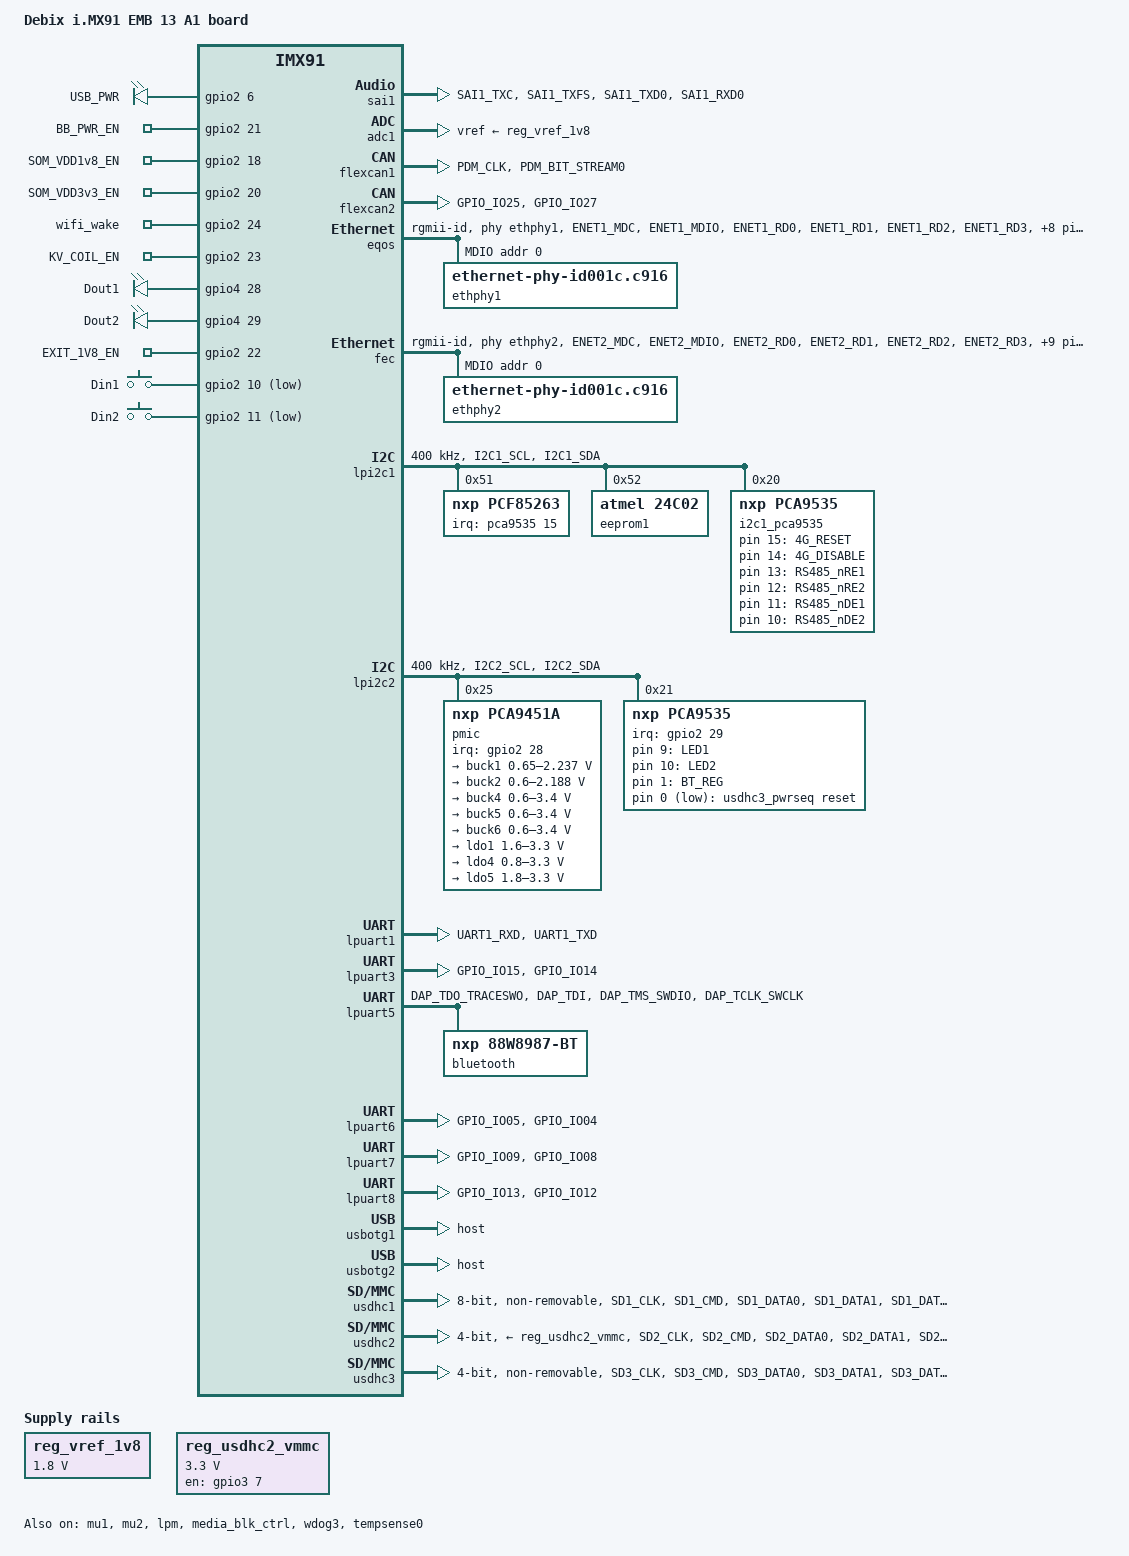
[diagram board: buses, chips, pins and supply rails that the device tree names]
// SPDX-License-Identifier: (GPL-2.0+ OR MIT)
/*
 * Copyright 2024 NXP
 */

/dts-v1/;

#include <dt-bindings/usb/pd.h>
#include "imx91.dtsi"

&ele_fw2 {
	memory-region = <&ele_reserved>;
};

/ {
	model = "Debix i.MX91 EMB 13 A1 board";
	compatible = "fsl,imx91-11x11-evk", "fsl,imx91";

	chosen {
		stdout-path = &lpuart1;
	};

	gpio-leds {
		compatible = "gpio-leds";
		pinctrl-names = "default";
		pinctrl-0 = <&pinctrl_leds>;

		USB_PWR {
			label = "USB_PWR";
			gpios = <&gpio2 6 GPIO_ACTIVE_HIGH>;
			default-state = "on";
			retain-state-suspended;
		};
		BB_PWR_EN {
			label = "BB_PWR_EN";
			gpios = <&gpio2 21 GPIO_ACTIVE_HIGH>;
			default-state = "on";
			retain-state-suspended;
		};
		SOM_VDD1v8_EN {
			label = "SOM_VDD1v8_EN";
			gpios = <&gpio2 18 GPIO_ACTIVE_HIGH>;
			default-state = "on";
			retain-state-suspended;
		};
		SOM_VDD3v3_EN {
			label = "SOM_VDD3v3_EN";
			gpios = <&gpio2 20 GPIO_ACTIVE_HIGH>;
			default-state = "on";
			retain-state-suspended;
		};

		LED1 {
			label = "LED1";
			gpios = <&pca9535 9 GPIO_ACTIVE_HIGH>;
			default-state = "on";
			retain-state-suspended;
		};
		LED2 {
			label = "LED2";
			gpios = <&pca9535 10 GPIO_ACTIVE_HIGH>;
			default-state = "on";
			retain-state-suspended;
		};
#if 1
		BT_REG {
			label = "BT_REG";
			gpios = <&pca9535 1 GPIO_ACTIVE_HIGH>;
			default-state = "on";
			retain-state-suspended;
		};
		wifi_wake {
			label = "wifi_wake";
			gpios = <&gpio2 24 GPIO_ACTIVE_HIGH>;
			default-state = "on";
			retain-state-suspended;
		};

#endif
		4G_RESET {
                        label = "4G_RESET";
                        gpios = <&i2c1_pca9535 15 GPIO_ACTIVE_HIGH>;
                        default-state = "off";
                };
                4G_DISABLE {
                        label = "4G_DISABLE";
                        gpios = <&i2c1_pca9535 14 GPIO_ACTIVE_HIGH>;
                        default-state = "off";
                };
		KV_COIL_EN {
                        label = "KV_COIL_EN";
                        gpios = <&gpio2 23 GPIO_ACTIVE_HIGH>;
                        default-state = "on";
		};
		Dout1 {
                        label = "Dout1";
                        gpios = <&gpio4 28 GPIO_ACTIVE_HIGH>;
                        default-state = "on";
                };
                Dout2 {
                        label = "Dout2";
                        gpios = <&gpio4 29 GPIO_ACTIVE_HIGH>;
                        default-state = "on";
                };

		EXIT_1V8_EN {
                        label = "EXIT_1V8_EN";
                        gpios = <&gpio2 22 GPIO_ACTIVE_HIGH>;
                        default-state = "on";
		};
		//485
		RS485_nRE1 {
                        label = "RS485_nRE1";
                        gpios = <&i2c1_pca9535 13 GPIO_ACTIVE_HIGH>;
                        default-state = "on";
                };
		RS485_nRE2 {
                        label = "RS485_nRE2";
                        gpios = <&i2c1_pca9535 12 GPIO_ACTIVE_HIGH>;
                        default-state = "on";
                };
		RS485_nDE1 {
                        label = "RS485_nDE1";
                        gpios = <&i2c1_pca9535 11 GPIO_ACTIVE_HIGH>;
                        default-state = "on";
                };
		RS485_nDE2 {
                        label = "RS485_nDE2";
                        gpios = <&i2c1_pca9535 10 GPIO_ACTIVE_HIGH>;
                        default-state = "on";
                };

	};

	gpio_keys {
                compatible = "gpio-keys";
                pinctrl-names = "default";
                pinctrl-0 = <&pinctrl_gpio_keys>;
                status = "okay";

                Din1 {
                        label = "Din1";
                        gpios = <&gpio2 10 GPIO_ACTIVE_LOW>;
                        linux,code = <KEY_F13>;
                        wakeup-source;
                };
                Din2 {
                        label = "Din2";
                        gpios = <&gpio2 11 GPIO_ACTIVE_LOW>;
                        linux,code = <KEY_F14>;
                        wakeup-source;
                };
	};

	reserved-memory {
		#address-cells = <2>;
		#size-cells = <2>;
		ranges;

		linux,cma {
			compatible = "shared-dma-pool";
			reusable;
			alloc-ranges = <0 0x80000000 0 0x40000000>;
			size = <0 0x10000000>;
			linux,cma-default;
		};

		ele_reserved: ele-reserved@a4120000 {
			compatible = "shared-dma-pool";
			reg = <0 0xa4120000 0 0x100000>;
			no-map;
		};
	};

	reg_vref_1v8: regulator-adc-vref {
		compatible = "regulator-fixed";
		regulator-name = "vref_1v8";
		regulator-min-microvolt = <1800000>;
		regulator-max-microvolt = <1800000>;
	};

	reg_usdhc2_vmmc: regulator-usdhc2 {
		compatible = "regulator-fixed";
		pinctrl-names = "default";
		pinctrl-0 = <&pinctrl_reg_usdhc2_vmmc>;
		regulator-name = "VSD_3V3";
		regulator-min-microvolt = <3300000>;
		regulator-max-microvolt = <3300000>;
		gpio = <&gpio3 7 GPIO_ACTIVE_HIGH>;
		off-on-delay-us = <12000>;
		enable-active-high;
	};
#if 0
	reg_m2_pwr: regulator-m2-pwr {
		compatible = "regulator-fixed";
		regulator-name = "M.2-power";
		regulator-min-microvolt = <3300000>;
		regulator-max-microvolt = <3300000>;
		gpio = <&pcal6524 13 GPIO_ACTIVE_HIGH>;
		enable-active-high;
	};
#endif
#if 0
	reg_usdhc3_vmmc: regulator-usdhc3 {
		compatible = "regulator-fixed";
		regulator-name = "WLAN_EN";
		regulator-min-microvolt = <3300000>;
		regulator-max-microvolt = <3300000>;
		pinctrl-names = "default";
		pinctrl-0 = <&pinctrl_wl_wake_dev>;
		//vin-supply = <&reg_m2_pwr>;
		gpio = <&gpio2 24 GPIO_ACTIVE_HIGH>;
		/*
		 * IW612 wifi chip needs more delay than other wifi chips to complete
		 * the host interface initialization after power up, otherwise the
		 * internal state of IW612 may be unstable, resulting in the failure of
		 * the SDIO3.0 switch voltage.
		 */
		startup-delay-us = <20000>;
		enable-active-high;
	};
#endif
	usdhc3_pwrseq: usdhc3_pwrseq {
		compatible = "mmc-pwrseq-simple";
		post-power-on-delay-ms = <200>;
		reset-gpios = <&pca9535 0 GPIO_ACTIVE_LOW>;
	};

#if 0
	reg_audio_pwr: regulator-audio-pwr {
		compatible = "regulator-fixed";
		regulator-name = "audio-pwr";
		regulator-min-microvolt = <3300000>;
		regulator-max-microvolt = <3300000>;
		gpio = <&adp5585 1 GPIO_ACTIVE_HIGH>;
		enable-active-high;
		regulator-always-on;
	};

	sound-wm8962 {
		compatible = "fsl,imx-audio-wm8962";
		model = "wm8962-audio";
		audio-cpu = <&sai3>;
		audio-codec = <&codec>;
		hp-det-gpio = <&pcal6524 4 GPIO_ACTIVE_HIGH>;
		audio-routing =
			"Headphone Jack", "HPOUTL",
			"Headphone Jack", "HPOUTR",
			"Ext Spk", "SPKOUTL",
			"Ext Spk", "SPKOUTR",
			"AMIC", "MICBIAS",
			"IN3R", "AMIC",
			"IN1R", "AMIC";
	};

	sound-micfil {
		compatible = "fsl,imx-audio-card";
		model = "micfil-audio";
		pri-dai-link {
			link-name = "micfil hifi";
			format = "i2s";
			cpu {
				sound-dai = <&micfil>;
			};
		};
	};

	bt_sco_codec: bt_sco_codec {
		#sound-dai-cells = <1>;
		compatible = "linux,bt-sco";
	};

	sound-bt-sco {
		compatible = "simple-audio-card";
		simple-audio-card,name = "bt-sco-audio";
		simple-audio-card,format = "dsp_a";
		simple-audio-card,bitclock-inversion;
		simple-audio-card,frame-master = <&btcpu>;
		simple-audio-card,bitclock-master = <&btcpu>;

		btcpu: simple-audio-card,cpu {
			sound-dai = <&sai1>;
			dai-tdm-slot-num = <2>;
			dai-tdm-slot-width = <16>;
		};

		simple-audio-card,codec {
			sound-dai = <&bt_sco_codec 1>;
		};
	};

	sound-xcvr {
		compatible = "fsl,imx-audio-card";
		model = "imx-audio-xcvr";
		pri-dai-link {
			link-name = "XCVR PCM";
			cpu {
				sound-dai = <&xcvr>;
			};
		};
	};
#endif
	//EA6xxx sv6160
        seekwcn_boot: seekwcn_boot {
                compatible = "seekwave,sv6160";
                dma_type = <1>;
                status = "okay";
		//pinctrl-names = "default";
		//pinctrl-0 = <&pinctrl_wl_wake_dev>;
                //gpio_host_wake = <&pca9535 1 GPIO_ACTIVE_HIGH>;
                //gpio_chip_wake = <&gpio2 24 GPIO_ACTIVE_LOW>;
                //gpio_chip_en = <&gpio1 RK_PC6 GPIO_ACTIVE_HIGH>;
        };

};

&sai1 {
	#sound-dai-cells = <0>;
	pinctrl-names = "default", "sleep";
	pinctrl-0 = <&pinctrl_sai1>;
	pinctrl-1 = <&pinctrl_sai1_sleep>;
	assigned-clocks = <&clk IMX91_CLK_SAI1>;
	assigned-clock-parents = <&clk IMX91_CLK_AUDIO_PLL>;
	assigned-clock-rates = <12288000>;
	fsl,sai-mclk-direction-output;
	status = "okay";
};

&sai3 {
	pinctrl-names = "default", "sleep";
	pinctrl-0 = <&pinctrl_sai3>;
	pinctrl-1 = <&pinctrl_sai3_sleep>;
	assigned-clocks = <&clk IMX91_CLK_SAI3>;
	assigned-clock-parents = <&clk IMX91_CLK_AUDIO_PLL>;
	assigned-clock-rates = <12288000>;
	fsl,sai-mclk-direction-output;
	status = "disabled";
};

&micfil {
	status = "disabled";
};

&xcvr {
	#sound-dai-cells = <0>;
	pinctrl-names = "default", "sleep";
	pinctrl-0 = <&pinctrl_spdif>;
	pinctrl-1 = <&pinctrl_spdif_sleep>;
	clocks = <&clk IMX91_CLK_SPDIF_IPG>,
		<&clk IMX91_CLK_SPDIF_GATE>,
		<&clk IMX91_CLK_DUMMY>,
		<&clk IMX91_CLK_AUD_XCVR_GATE>,
		<&clk IMX91_CLK_AUDIO_PLL>;
	clock-names = "ipg", "phy", "spba", "pll_ipg", "pll8k";
	assigned-clocks = <&clk IMX91_CLK_SPDIF>,
			 <&clk IMX91_CLK_AUDIO_XCVR>;
	assigned-clock-parents = <&clk IMX91_CLK_AUDIO_PLL>,
			 <&clk IMX91_CLK_SYS_PLL_PFD1_DIV2>;
	assigned-clock-rates = <12288000>, <200000000>;
	status = "disabled";
};

&adc1 {
	vref-supply = <&reg_vref_1v8>;
	status = "okay";
};
&flexcan1 {
	pinctrl-names = "default", "sleep";
	pinctrl-0 = <&pinctrl_flexcan1>;
	pinctrl-1 = <&pinctrl_flexcan1_sleep>;
	status = "okay";
};


&flexcan2 {
	pinctrl-names = "default", "sleep";
	pinctrl-0 = <&pinctrl_flexcan2>;
	pinctrl-1 = <&pinctrl_flexcan2_sleep>;
	status = "okay";
};

&mu1 {
	status = "okay";
};

&mu2 {
	status = "okay";
};

&eqos {
	pinctrl-names = "default", "sleep";
	pinctrl-0 = <&pinctrl_eqos>;
	pinctrl-1 = <&pinctrl_eqos_sleep>;
	phy-mode = "rgmii-id";
	phy-handle = <&ethphy1>;
	status = "okay";

	mdio {
		compatible = "snps,dwmac-mdio";
		#address-cells = <1>;
		#size-cells = <0>;
		clock-frequency = <2500000>;
		reset-delay-us = <10>;
		reset-post-delay-us = <150>;
		reset-gpios = <&pca9535 12 GPIO_ACTIVE_LOW>;
		ethphy1: ethernet-phy@0 {
			compatible = "ethernet-phy-id001c.c916","ethernet-phy-ieee802.3-c22";//need to use RTL8211E Gigabit Ethernet driver
			reg = <0>;
			//realtek,clkout-disable;
			eee-broken-1000t;
		};
	};
};

&fec {
	pinctrl-names = "default", "sleep";
	pinctrl-0 = <&pinctrl_fec>;
	pinctrl-1 = <&pinctrl_fec_sleep>;
	phy-mode = "rgmii-id";
	phy-handle = <&ethphy2>;
	fsl,magic-packet;
	phy-reset-gpios = <&pca9535 11 GPIO_ACTIVE_LOW>;
        phy-reset-duration = <10>;
        phy-reset-post-delay = <150>;
	status = "okay";

	mdio {
		#address-cells = <1>;
		#size-cells = <0>;
		clock-frequency = <2500000>;

		ethphy2: ethernet-phy@0 {
			compatible =  "ethernet-phy-id001c.c916","ethernet-phy-ieee802.3-c22";//need to use RTL8211E Gigabit Ethernet driver
			reg = <0>;
			eee-broken-1000t;
			realtek,clkout-disable;
		};
	};
};

&lpm {
	soc-supply = <&buck1>;
	status = "okay";
};

/*
 * When add, delete or change any target device setting in &lpi2c1,
 * please synchronize the changes to the &i3c1 bus in imx91-11x11-evk-i3c.dts.
 */
&lpi2c1 {
	clock-frequency = <400000>;
	pinctrl-names = "default";
	pinctrl-0 = <&pinctrl_lpi2c1>;
	status = "okay";

#if 0
//Add RTC hym8563
	hym8563: hym8563@51 {
		compatible = "haoyu,hym8563";
		reg = <0x51>;
		#clock-cells = <0>;
		clock-frequency = <32768>;
		clock-output-names = "xin32k";
		init_date="2025/03/27";
		interrupt-parent = <&pca9535>;
		interrupts = <15 IRQ_TYPE_EDGE_FALLING>;
		status = "okay";
		//		pinctrl-names = "default";
		//		pinctrl-0 = <&pinctrl_rtc_int>;
	};
#else
	pcf85263@51 {
                compatible = "nxp,pcf85263";
                reg = <0x51>;
		status = "okay";
		interrupt-parent = <&pca9535>;
                interrupts = <15 IRQ_TYPE_EDGE_FALLING>;
		wakeup-source;
	};
#endif
#if 0
	codec: wm8962@1a {
		compatible = "wlf,wm8962";
		reg = <0x1a>;
		clocks = <&clk IMX91_CLK_SAI3_GATE>;
		DCVDD-supply = <&reg_audio_pwr>;
		DBVDD-supply = <&reg_audio_pwr>;
		AVDD-supply = <&reg_audio_pwr>;
		CPVDD-supply = <&reg_audio_pwr>;
		MICVDD-supply = <&reg_audio_pwr>;
		PLLVDD-supply = <&reg_audio_pwr>;
		SPKVDD1-supply = <&reg_audio_pwr>;
		SPKVDD2-supply = <&reg_audio_pwr>;
		gpio-cfg = <
			0x0000 /* 0:Default */
			0x0000 /* 1:Default */
			0x0000 /* 2:FN_DMICCLK */
			0x0000 /* 3:Default */
			0x0000 /* 4:FN_DMICCDAT */
			0x0000 /* 5:Default */
		>;
	};

	lsm6dsm@6a {
		compatible = "st,lsm6dso";
		reg = <0x6a>;
	};
#endif
	eeprom1: eeprom@52 {
                compatible = "atmel,24c02";
                reg = <0x52>;
                pagesize = <16>;
        };

	i2c1_pca9535: gpio@20 {
		compatible = "nxp,pca9535";
		//pinctrl-names = "default";
		//pinctrl-0 = <&pinctrl_i2c1_pca9535>;
		reg = <0x20>;
		gpio-controller;
		#gpio-cells = <2>;
		//interrupt-controller;
		//#interrupt-cells = <2>;
		//interrupt-parent = <&gpio2>;
		//interrupts = <29 IRQ_TYPE_LEVEL_LOW>;

		/*m2-pcm-level-shifter-hog {
			gpio-hog;
			gpios = <19 GPIO_ACTIVE_HIGH>;
			output-high;
		};*/
	};

};

&lpi2c2 {
	clock-frequency = <400000>;
	pinctrl-names = "default";
	pinctrl-0 = <&pinctrl_lpi2c2>;
	status = "okay";

	pmic@25 {
		compatible = "nxp,pca9451a";
		reg = <0x25>;
		pinctrl-names = "default";
		pinctrl-0 = <&pinctrl_pmic>;
		interrupt-parent = <&gpio2>;
		interrupts = <28 IRQ_TYPE_EDGE_FALLING>;

		regulators {
			buck1: BUCK1 {
				regulator-name = "BUCK1";
				regulator-min-microvolt = <650000>;
				regulator-max-microvolt = <2237500>;
				regulator-boot-on;
				regulator-always-on;
				regulator-ramp-delay = <3125>;
			};

			buck2: BUCK2 {
				regulator-name = "BUCK2";
				regulator-min-microvolt = <600000>;
				regulator-max-microvolt = <2187500>;
				regulator-boot-on;
				regulator-always-on;
				regulator-ramp-delay = <3125>;
			};

			buck4: BUCK4{
				regulator-name = "BUCK4";
				regulator-min-microvolt = <600000>;
				regulator-max-microvolt = <3400000>;
				regulator-boot-on;
				regulator-always-on;
			};

			buck5: BUCK5{
				regulator-name = "BUCK5";
				regulator-min-microvolt = <600000>;
				regulator-max-microvolt = <3400000>;
				regulator-boot-on;
				regulator-always-on;
			};

			buck6: BUCK6 {
				regulator-name = "BUCK6";
				regulator-min-microvolt = <600000>;
				regulator-max-microvolt = <3400000>;
				regulator-boot-on;
				regulator-always-on;
			};

			ldo1: LDO1 {
				regulator-name = "LDO1";
				regulator-min-microvolt = <1600000>;
				regulator-max-microvolt = <3300000>;
				regulator-boot-on;
				regulator-always-on;
			};

			ldo4: LDO4 {
				regulator-name = "LDO4";
				regulator-min-microvolt = <800000>;
				regulator-max-microvolt = <3300000>;
				regulator-boot-on;
				regulator-always-on;
			};

			ldo5: LDO5 {
				regulator-name = "LDO5";
				regulator-min-microvolt = <1800000>;
				regulator-max-microvolt = <3300000>;
				regulator-boot-on;
				regulator-always-on;
			};
		};
	};

	pca9535: gpio@21 {
		compatible = "nxp,pca9535";
		pinctrl-names = "default";
		pinctrl-0 = <&pinctrl_pca9535>;
		reg = <0x21>;
		gpio-controller;
		#gpio-cells = <2>;
		interrupt-controller;
		#interrupt-cells = <2>;
		interrupt-parent = <&gpio2>;
		interrupts = <29 IRQ_TYPE_LEVEL_LOW>;

		/*m2-pcm-level-shifter-hog {
			gpio-hog;
			gpios = <19 GPIO_ACTIVE_HIGH>;
			output-high;
		};*/
	};
};

&lpuart1 { /* console */
	pinctrl-names = "default";
	pinctrl-0 = <&pinctrl_uart1>;
	status = "okay";
};

&lpuart3 { 
	pinctrl-names = "default";
	pinctrl-0 = <&pinctrl_uart3>;
	status = "okay";
};
&lpuart5 {
	/* BT */
	pinctrl-names = "default";
	pinctrl-0 = <&pinctrl_uart5>;
	status = "okay";

	bluetooth {
		compatible = "nxp,88w8987-bt";
	};
};
&lpuart6 { 
	pinctrl-names = "default";
	pinctrl-0 = <&pinctrl_uart6>;
	status = "okay";
};

&lpuart7 {
	pinctrl-names = "default";
	pinctrl-0 = <&pinctrl_uart7>;
	status = "okay";
};
&lpuart8 {
	pinctrl-names = "default";
	pinctrl-0 = <&pinctrl_uart8>;
	status = "okay";
};


&media_blk_ctrl {
	status = "okay";
};

&usbotg1 {
#if 1 
	dr_mode = "host";
	status = "okay";
#else
	dr_mode = "otg";
	hnp-disable;
	srp-disable;
	adp-disable;
	usb-role-switch;
	disable-over-current;
	samsung,picophy-pre-emp-curr-control = <3>;
	samsung,picophy-dc-vol-level-adjust = <7>;
	status = "okay";
	port {
		usb1_drd_sw: endpoint {
			remote-endpoint = <&typec1_dr_sw>;
		};
	};
#endif
};

&usbotg2 {
#if 1 
	dr_mode = "host";
	status = "okay";
#else
	dr_mode = "otg";
	hnp-disable;
	srp-disable;
	adp-disable;
	usb-role-switch;
	disable-over-current;
	samsung,picophy-pre-emp-curr-control = <3>;
	samsung,picophy-dc-vol-level-adjust = <7>;
	status = "okay";

	port {
		usb2_drd_sw: endpoint {
			remote-endpoint = <&typec2_dr_sw>;
		};
	};
#endif
};

&usdhc1 {
	pinctrl-names = "default", "state_100mhz", "state_200mhz";
	pinctrl-0 = <&pinctrl_usdhc1>;
	pinctrl-1 = <&pinctrl_usdhc1_100mhz>;
	pinctrl-2 = <&pinctrl_usdhc1_200mhz>;
	bus-width = <8>;
	fsl,tuning-step = <1>;
	non-removable;
	status = "okay";
};

&usdhc2 {
	pinctrl-names = "default", "state_100mhz", "state_200mhz", "sleep";
	pinctrl-0 = <&pinctrl_usdhc2>, <&pinctrl_usdhc2_gpio>;
	pinctrl-1 = <&pinctrl_usdhc2_100mhz>, <&pinctrl_usdhc2_gpio>;
	pinctrl-2 = <&pinctrl_usdhc2_200mhz>, <&pinctrl_usdhc2_gpio>;
	pinctrl-3 = <&pinctrl_usdhc2_sleep>, <&pinctrl_usdhc2_gpio_sleep>;
	cd-gpios = <&gpio3 00 GPIO_ACTIVE_LOW>;
	fsl,cd-gpio-wakeup-disable;
	vmmc-supply = <&reg_usdhc2_vmmc>;
	bus-width = <4>;
	fsl,tuning-step = <1>;
	status = "okay";
	no-sdio;
	no-mmc;
};

&bbnsm_rtc {
	status = "disabled";
};

&usdhc3 {
	pinctrl-names = "default", "state_100mhz", "state_200mhz", "sleep";
	pinctrl-0 = <&pinctrl_usdhc3>, <&pinctrl_usdhc3_wlan>;
	pinctrl-1 = <&pinctrl_usdhc3_100mhz>, <&pinctrl_usdhc3_wlan>;
	pinctrl-2 = <&pinctrl_usdhc3_200mhz>, <&pinctrl_usdhc3_wlan>;
	//pinctrl-3 = <&pinctrl_usdhc3_sleep>, <&pinctrl_usdhc3_wlan>;
	mmc-pwrseq = <&usdhc3_pwrseq>;
	//vmmc-supply = <&reg_usdhc3_vmmc>;
	no-sd;
        no-mmc;
	bus-width = <4>;
	keep-power-in-suspend;
	non-removable;
	wakeup-source;
	sd-uhs-sdr104;
	status = "okay";
/*
	wifi_wake_host {
		compatible = "nxp,wifi-wake-host";
		interrupt-parent = <&pca9535>;
		interrupts = <1 IRQ_TYPE_LEVEL_LOW>;
		interrupt-names = "host-wake";
	};*/
};

&wdog3 {
	status = "okay";
};

&tempsense0 {
	status = "okay";
};

&iomuxc {
	pinctrl_eqos: eqosgrp {
		fsl,pins = <
			MX91_PAD_ENET1_MDC__ENET1_MDC			0x57e
			MX91_PAD_ENET1_MDIO__ENET_QOS_MDIO			0x57e
			MX91_PAD_ENET1_RD0__ENET_QOS_RGMII_RD0			0x57e
			MX91_PAD_ENET1_RD1__ENET_QOS_RGMII_RD1			0x57e
			MX91_PAD_ENET1_RD2__ENET_QOS_RGMII_RD2			0x57e
			MX91_PAD_ENET1_RD3__ENET_QOS_RGMII_RD3			0x57e
			MX91_PAD_ENET1_RXC__ENET_QOS_RGMII_RXC	0x5fe
			MX91_PAD_ENET1_RX_CTL__ENET_QOS_RGMII_RX_CTL		0x57e
			MX91_PAD_ENET1_TD0__ENET_QOS_RGMII_TD0			0x57e
			MX91_PAD_ENET1_TD1__ENET1_RGMII_TD1			0x57e
			MX91_PAD_ENET1_TD2__ENET_QOS_RGMII_TD2			0x57e
			MX91_PAD_ENET1_TD3__ENET_QOS_RGMII_TD3			0x57e
			MX91_PAD_ENET1_TXC__CCM_ENET_QOS_CLOCK_GENERATE_TX_CLK	0x5fe
			MX91_PAD_ENET1_TX_CTL__ENET_QOS_RGMII_TX_CTL		0x57e
		>;
	};

	pinctrl_eqos_sleep: eqosgrpsleep {
		fsl,pins = <
			MX91_PAD_ENET1_MDC__GPIO4_IO0				0x31e
			MX91_PAD_ENET1_MDIO__GPIO4_IO1				0x31e
			MX91_PAD_ENET1_RD0__GPIO4_IO10                          0x31e
			MX91_PAD_ENET1_RD1__GPIO4_IO11				0x31e
			MX91_PAD_ENET1_RD2__GPIO4_IO12				0x31e
			MX91_PAD_ENET1_RD3__GPIO4_IO13				0x31e
			MX91_PAD_ENET1_RXC__GPIO4_IO9                          0x31e
			MX91_PAD_ENET1_RX_CTL__GPIO4_IO8			0x31e
			MX91_PAD_ENET1_TD0__GPIO4_IO5                          0x31e
			MX91_PAD_ENET1_TD1__GPIO4_IO4                          0x31e
			MX91_PAD_ENET1_TD2__GPIO4_IO3				0x31e
			MX91_PAD_ENET1_TD3__GPIO4_IO2				0x31e
			MX91_PAD_ENET1_TXC__GPIO4_IO7                          0x31e
			MX91_PAD_ENET1_TX_CTL__GPIO4_IO6                       0x31e
		>;
	};

	pinctrl_fec: fecgrp {
		fsl,pins = <
			MX91_PAD_ENET2_MDC__ENET2_MDC			0x57e
			MX91_PAD_ENET2_MDIO__ENET2_MDIO			0x57e
			MX91_PAD_ENET2_RD0__ENET2_RGMII_RD0		0x57e
			MX91_PAD_ENET2_RD1__ENET2_RGMII_RD1		0x57e
			MX91_PAD_ENET2_RD2__ENET2_RGMII_RD2		0x57e
			MX91_PAD_ENET2_RD3__ENET2_RGMII_RD3		0x57e
			MX91_PAD_ENET2_RXC__ENET2_RGMII_RXC		0x5fe
			MX91_PAD_ENET2_RX_CTL__ENET2_RGMII_RX_CTL	0x57e
			MX91_PAD_ENET2_TD0__ENET2_RGMII_TD0		0x57e
			MX91_PAD_ENET2_TD1__ENET2_RGMII_TD1		0x57e
			MX91_PAD_ENET2_TD2__ENET2_RGMII_TD2		0x57e
			MX91_PAD_ENET2_TD3__ENET2_RGMII_TD3		0x57e
			MX91_PAD_ENET2_TXC__ENET2_RGMII_TXC		0x5fe
			MX91_PAD_ENET2_TX_CTL__ENET2_RGMII_TX_CTL	0x57e
		>;
	};

	pinctrl_fec_sleep: fecsleepgrp {
		fsl,pins = <
			MX91_PAD_ENET2_MDC__GPIO4_IO14			0x51e
			MX91_PAD_ENET2_MDIO__GPIO4_IO15			0x51e
			MX91_PAD_ENET2_RD0__GPIO4_IO24			0x51e
			MX91_PAD_ENET2_RD1__GPIO4_IO25			0x51e
			MX91_PAD_ENET2_RD2__GPIO4_IO26			0x51e
			MX91_PAD_ENET2_RD3__GPIO4_IO27			0x51e
			MX91_PAD_ENET2_RXC__GPIO4_IO23                  0x51e
			MX91_PAD_ENET2_RX_CTL__GPIO4_IO22		0x51e
			MX91_PAD_ENET2_TD0__GPIO4_IO19			0x51e
			MX91_PAD_ENET2_TD1__GPIO4_IO18			0x51e
			MX91_PAD_ENET2_TD2__GPIO4_IO17			0x51e
			MX91_PAD_ENET2_TD3__GPIO4_IO16			0x51e
			MX91_PAD_ENET2_TXC__GPIO4_IO21                  0x51e
			MX91_PAD_ENET2_TX_CTL__GPIO4_IO20               0x51e
		>;
	};
	pinctrl_flexcan1: flexcan1grp {
		fsl,pins = <
			MX91_PAD_PDM_CLK__CAN1_TX 0x139e
			MX91_PAD_PDM_BIT_STREAM0__CAN1_RX 0x139e
		>;
	};
	pinctrl_flexcan1_sleep: flexcan1sleepgrp {
		fsl,pins = <
			MX91_PAD_PDM_CLK__GPIO1_IO8    0x31e
			MX91_PAD_PDM_BIT_STREAM0__GPIO1_IO9  0x31e
		>;
	};


	pinctrl_flexcan2: flexcan2grp {
		fsl,pins = <
			MX91_PAD_GPIO_IO25__CAN2_TX	0x139e
			MX91_PAD_GPIO_IO27__CAN2_RX	0x139e
		>;
	};
	pinctrl_flexcan2_sleep: flexcan2sleepgrp {
		fsl,pins = <
			MX91_PAD_GPIO_IO25__GPIO2_IO25  0x31e
			MX91_PAD_GPIO_IO27__GPIO2_IO27	0x31e
		>;
	};

	pinctrl_lpi2c1: lpi2c1grp {
		fsl,pins = <
			MX91_PAD_I2C1_SCL__LPI2C1_SCL			0x40000b9e
			MX91_PAD_I2C1_SDA__LPI2C1_SDA			0x40000b9e
		>;
	};

	pinctrl_lpi2c2: lpi2c2grp {
		fsl,pins = <
			MX91_PAD_I2C2_SCL__LPI2C2_SCL			0x40000b9e
			MX91_PAD_I2C2_SDA__LPI2C2_SDA			0x40000b9e
		>;
	};

	pinctrl_i2c1_pca9535: i2c1pca9535grp {
		fsl,pins = <
			MX91_PAD_GPIO_IO29__GPIO2_IO29			0x31e
		>;
	};

	pinctrl_pca9535: pca9535grp {
		fsl,pins = <
			MX91_PAD_GPIO_IO29__GPIO2_IO29			0x31e
		>;
	};

	pinctrl_pmic: pmicgrp {
		fsl,pins = <
			MX91_PAD_GPIO_IO28__GPIO2_IO28			0x31e
		>;
	};

	pinctrl_uart1: uart1grp {
		fsl,pins = <
			MX91_PAD_UART1_RXD__LPUART1_RX			0x31e
			MX91_PAD_UART1_TXD__LPUART1_TX			0x31e
		>;
	};
	pinctrl_uart3: uart3grp {
		fsl,pins = <
			MX91_PAD_GPIO_IO15__LPUART3_RX	0x31e
			MX91_PAD_GPIO_IO14__LPUART3_TX	0x31e
		>;
	};


	pinctrl_uart5: uart5grp {
		fsl,pins = <
			MX91_PAD_DAP_TDO_TRACESWO__LPUART5_TX	0x31e
			MX91_PAD_DAP_TDI__LPUART5_RX		0x31e
			MX91_PAD_DAP_TMS_SWDIO__LPUART5_RTS_B	0x31e
			MX91_PAD_DAP_TCLK_SWCLK__LPUART5_CTS_B	0x31e
		>;
	};
	pinctrl_uart6: uart6grp {
		fsl,pins = <
			MX91_PAD_GPIO_IO05__LPUART6_RX	0x31e
			MX91_PAD_GPIO_IO04__LPUART6_TX	0x31e
		>;
	};

	pinctrl_uart7: uart7grp {
		fsl,pins = <
			MX91_PAD_GPIO_IO09__LPUART7_RX	0x31e
			MX91_PAD_GPIO_IO08__LPUART7_TX	0x31e
		>;
	};

	pinctrl_uart8: uart8grp {
		fsl,pins = <
			MX91_PAD_GPIO_IO13__LPUART8_RX	0x31e
			MX91_PAD_GPIO_IO12__LPUART8_TX	0x31e
		>;
	};


	pinctrl_usdhc1: usdhc1grp {
		fsl,pins = <
			MX91_PAD_SD1_CLK__USDHC1_CLK		0x1582
			MX91_PAD_SD1_CMD__USDHC1_CMD		0x1382
			MX91_PAD_SD1_DATA0__USDHC1_DATA0	0x1382
			MX91_PAD_SD1_DATA1__USDHC1_DATA1	0x1382
			MX91_PAD_SD1_DATA2__USDHC1_DATA2	0x1382
			MX91_PAD_SD1_DATA3__USDHC1_DATA3	0x1382
			MX91_PAD_SD1_DATA4__USDHC1_DATA4	0x1382
			MX91_PAD_SD1_DATA5__USDHC1_DATA5	0x1382
			MX91_PAD_SD1_DATA6__USDHC1_DATA6	0x1382
			MX91_PAD_SD1_DATA7__USDHC1_DATA7	0x1382
			MX91_PAD_SD1_STROBE__USDHC1_STROBE	0x1582
		>;
	};

	pinctrl_usdhc1_100mhz: usdhc1-100mhzgrp {
		fsl,pins = <
			MX91_PAD_SD1_CLK__USDHC1_CLK		0x158e
			MX91_PAD_SD1_CMD__USDHC1_CMD		0x138e
			MX91_PAD_SD1_DATA0__USDHC1_DATA0	0x138e
			MX91_PAD_SD1_DATA1__USDHC1_DATA1	0x138e
			MX91_PAD_SD1_DATA2__USDHC1_DATA2	0x138e
			MX91_PAD_SD1_DATA3__USDHC1_DATA3	0x138e
			MX91_PAD_SD1_DATA4__USDHC1_DATA4	0x138e
			MX91_PAD_SD1_DATA5__USDHC1_DATA5	0x138e
			MX91_PAD_SD1_DATA6__USDHC1_DATA6	0x138e
			MX91_PAD_SD1_DATA7__USDHC1_DATA7	0x138e
			MX91_PAD_SD1_STROBE__USDHC1_STROBE	0x158e
		>;
	};

	pinctrl_usdhc1_200mhz: usdhc1-200mhzgrp {
		fsl,pins = <
			MX91_PAD_SD1_CLK__USDHC1_CLK		0x15fe
			MX91_PAD_SD1_CMD__USDHC1_CMD		0x13fe
			MX91_PAD_SD1_DATA0__USDHC1_DATA0	0x13fe
			MX91_PAD_SD1_DATA1__USDHC1_DATA1	0x13fe
			MX91_PAD_SD1_DATA2__USDHC1_DATA2	0x13fe
			MX91_PAD_SD1_DATA3__USDHC1_DATA3	0x13fe
			MX91_PAD_SD1_DATA4__USDHC1_DATA4	0x13fe
			MX91_PAD_SD1_DATA5__USDHC1_DATA5	0x13fe
			MX91_PAD_SD1_DATA6__USDHC1_DATA6	0x13fe
			MX91_PAD_SD1_DATA7__USDHC1_DATA7	0x13fe
			MX91_PAD_SD1_STROBE__USDHC1_STROBE	0x15fe
		>;
	};

	pinctrl_reg_usdhc2_vmmc: regusdhc2vmmcgrp {
		fsl,pins = <
			MX91_PAD_SD2_RESET_B__GPIO3_IO7	0x31e
		>;
	};

	pinctrl_usdhc2_gpio: usdhc2gpiogrp {
		fsl,pins = <
			MX91_PAD_SD2_CD_B__GPIO3_IO0		0x31e
		>;
	};

	pinctrl_usdhc2_gpio_sleep: usdhc2gpiogrpsleep {
		fsl,pins = <
			MX91_PAD_SD2_CD_B__GPIO3_IO0		0x51e
		>;
	};

	pinctrl_usdhc2: usdhc2grp {
		fsl,pins = <
			MX91_PAD_SD2_CLK__USDHC2_CLK		0x1582
			MX91_PAD_SD2_CMD__USDHC2_CMD		0x1382
			MX91_PAD_SD2_DATA0__USDHC2_DATA0	0x1382
			MX91_PAD_SD2_DATA1__USDHC2_DATA1	0x1382
			MX91_PAD_SD2_DATA2__USDHC2_DATA2	0x1382
			MX91_PAD_SD2_DATA3__USDHC2_DATA3	0x1382
			MX91_PAD_SD2_VSELECT__USDHC2_VSELECT	0x51e
		>;
	};

	pinctrl_usdhc2_100mhz: usdhc2-100mhzgrp {
		fsl,pins = <
			MX91_PAD_SD2_CLK__USDHC2_CLK		0x158e
			MX91_PAD_SD2_CMD__USDHC2_CMD		0x138e
			MX91_PAD_SD2_DATA0__USDHC2_DATA0	0x138e
			MX91_PAD_SD2_DATA1__USDHC2_DATA1	0x138e
			MX91_PAD_SD2_DATA2__USDHC2_DATA2	0x138e
			MX91_PAD_SD2_DATA3__USDHC2_DATA3	0x138e
			MX91_PAD_SD2_VSELECT__USDHC2_VSELECT	0x51e
		>;
	};

	pinctrl_usdhc2_200mhz: usdhc2-200mhzgrp {
		fsl,pins = <
			MX91_PAD_SD2_CLK__USDHC2_CLK		0x15fe
			MX91_PAD_SD2_CMD__USDHC2_CMD		0x13fe
			MX91_PAD_SD2_DATA0__USDHC2_DATA0	0x13fe
			MX91_PAD_SD2_DATA1__USDHC2_DATA1	0x13fe
			MX91_PAD_SD2_DATA2__USDHC2_DATA2	0x13fe
			MX91_PAD_SD2_DATA3__USDHC2_DATA3	0x13fe
			MX91_PAD_SD2_VSELECT__USDHC2_VSELECT	0x51e
		>;
	};

	pinctrl_usdhc2_sleep: usdhc2grpsleep {
		fsl,pins = <
			MX91_PAD_SD2_CLK__GPIO3_IO1            0x51e
			MX91_PAD_SD2_CMD__GPIO3_IO2		0x51e
			MX91_PAD_SD2_DATA0__GPIO3_IO3		0x51e
			MX91_PAD_SD2_DATA1__GPIO3_IO4		0x51e
			MX91_PAD_SD2_DATA2__GPIO3_IO5		0x51e
			MX91_PAD_SD2_DATA3__GPIO3_IO6		0x51e
			MX91_PAD_SD2_VSELECT__GPIO3_IO19	0x51e
		>;
	};

	pinctrl_usdhc3: usdhc3grp {
		fsl,pins = <
			MX91_PAD_SD3_CLK__USDHC3_CLK		0x1582
			MX91_PAD_SD3_CMD__USDHC3_CMD		0x1382
			MX91_PAD_SD3_DATA0__USDHC3_DATA0	0x1382
			MX91_PAD_SD3_DATA1__USDHC3_DATA1	0x1382
			MX91_PAD_SD3_DATA2__USDHC3_DATA2	0x1382
			MX91_PAD_SD3_DATA3__USDHC3_DATA3	0x1382
		>;
	};

	pinctrl_usdhc3_100mhz: usdhc3-100mhzgrp {
		fsl,pins = <
			MX91_PAD_SD3_CLK__USDHC3_CLK		0x158e
			MX91_PAD_SD3_CMD__USDHC3_CMD		0x138e
			MX91_PAD_SD3_DATA0__USDHC3_DATA0	0x138e
			MX91_PAD_SD3_DATA1__USDHC3_DATA1	0x138e
			MX91_PAD_SD3_DATA2__USDHC3_DATA2	0x138e
			MX91_PAD_SD3_DATA3__USDHC3_DATA3	0x138e
		>;
	};

	pinctrl_usdhc3_200mhz: usdhc3-200mhzgrp {
		fsl,pins = <
			MX91_PAD_SD3_CLK__USDHC3_CLK		0x15fe
			MX91_PAD_SD3_CMD__USDHC3_CMD		0x13fe
			MX91_PAD_SD3_DATA0__USDHC3_DATA0	0x13fe
			MX91_PAD_SD3_DATA1__USDHC3_DATA1	0x13fe
			MX91_PAD_SD3_DATA2__USDHC3_DATA2	0x13fe
			MX91_PAD_SD3_DATA3__USDHC3_DATA3	0x13fe
		>;
	};

	pinctrl_usdhc3_sleep: usdhc3grpsleep {
		fsl,pins = <
			MX91_PAD_SD3_CLK__GPIO3_IO20		0x31e
			MX91_PAD_SD3_CMD__GPIO3_IO21		0x31e
			MX91_PAD_SD3_DATA0__GPIO3_IO22		0x31e
			MX91_PAD_SD3_DATA1__GPIO3_IO23		0x31e
			MX91_PAD_SD3_DATA2__GPIO3_IO24		0x31e
			MX91_PAD_SD3_DATA3__GPIO3_IO25		0x31e
		>;
	};

	pinctrl_usdhc3_wlan: usdhc3wlangrp {
		fsl,pins = <
			MX91_PAD_CCM_CLKO1__GPIO3_IO26		0x31e
		>;
	};
	pinctrl_wl_wake_dev: wlwakedevgrp {
		fsl,pins = <
			MX91_PAD_GPIO_IO24__GPIO2_IO24 0x31e
		>;
	};

	pinctrl_gpio_keys: gpiokeysgrp {
		fsl,pins = <
			MX91_PAD_GPIO_IO10__GPIO2_IO10			0x51e
			MX91_PAD_GPIO_IO11__GPIO2_IO11			0x51e
		
		>;
	};
	pinctrl_leds: ledsgrp {
		fsl,pins = <
			MX91_PAD_GPIO_IO06__GPIO2_IO6			0x51e
			//BB_PWR_EN
			MX91_PAD_GPIO_IO21__GPIO2_IO21			0x51e
			//SOM_VDD1v8_EN
			MX91_PAD_GPIO_IO18__GPIO2_IO18			0x51e
			//SOM_VDD3v3_EN
			MX91_PAD_GPIO_IO20__GPIO2_IO20			0x51e
			MX91_PAD_GPIO_IO24__GPIO2_IO24 0x31e
			//KV_COIL_EN
			MX91_PAD_GPIO_IO22__GPIO2_IO22			0x51e
			//EXIT_1V8_EN
			MX91_PAD_GPIO_IO23__GPIO2_IO23			0x51e
			//Dout_1
			MX91_PAD_CCM_CLKO3__GPIO4_IO28 0x31e
			//Dout_2
			MX91_PAD_CCM_CLKO4__GPIO4_IO29 0x31e
			
		>;
	};

	pinctrl_sai1: sai1grp {
		fsl,pins = <
			MX91_PAD_SAI1_TXC__SAI1_TX_BCLK			0x31e
			MX91_PAD_SAI1_TXFS__SAI1_TX_SYNC		0x31e
			MX91_PAD_SAI1_TXD0__SAI1_TX_DATA0		0x31e
			MX91_PAD_SAI1_RXD0__SAI1_RX_DATA0		0x31e
		>;
	};

	pinctrl_sai1_sleep: sai1grpsleep {
		fsl,pins = <
			MX91_PAD_SAI1_TXC__GPIO1_IO12                   0x51e
			MX91_PAD_SAI1_TXFS__GPIO1_IO11			0x51e
			MX91_PAD_SAI1_TXD0__GPIO1_IO13			0x51e
			MX91_PAD_SAI1_RXD0__GPIO1_IO14			0x51e
		>;
	};

	pinctrl_sai3: sai3grp {
		fsl,pins = <
			MX91_PAD_GPIO_IO26__SAI3_TX_SYNC		0x31e
			MX91_PAD_GPIO_IO16__SAI3_TX_BCLK		0x31e
			MX91_PAD_GPIO_IO17__SAI3_MCLK			0x31e
			MX91_PAD_GPIO_IO19__SAI3_TX_DATA0		0x31e
			MX91_PAD_GPIO_IO20__SAI3_RX_DATA0		0x31e
		>;
	};

	pinctrl_sai3_sleep: sai3grpsleep {
		fsl,pins = <
			MX91_PAD_GPIO_IO26__GPIO2_IO26			0x51e
			MX91_PAD_GPIO_IO16__GPIO2_IO16			0x51e
			MX91_PAD_GPIO_IO17__GPIO2_IO17			0x51e
			MX91_PAD_GPIO_IO19__GPIO2_IO19			0x51e
			MX91_PAD_GPIO_IO20__GPIO2_IO20			0x51e
		>;
	};

	pinctrl_spdif: spdifgrp {
		fsl,pins = <
			MX91_PAD_GPIO_IO22__SPDIF_IN		0x3fe
			MX91_PAD_GPIO_IO23__SPDIF_OUT		0x3fe
		>;
	};

	pinctrl_spdif_sleep: spdifgrpsleep {
		fsl,pins = <
			MX91_PAD_GPIO_IO22__GPIO2_IO22		0x31e
			MX91_PAD_GPIO_IO23__GPIO2_IO23		0x31e
		>;
	};
};
